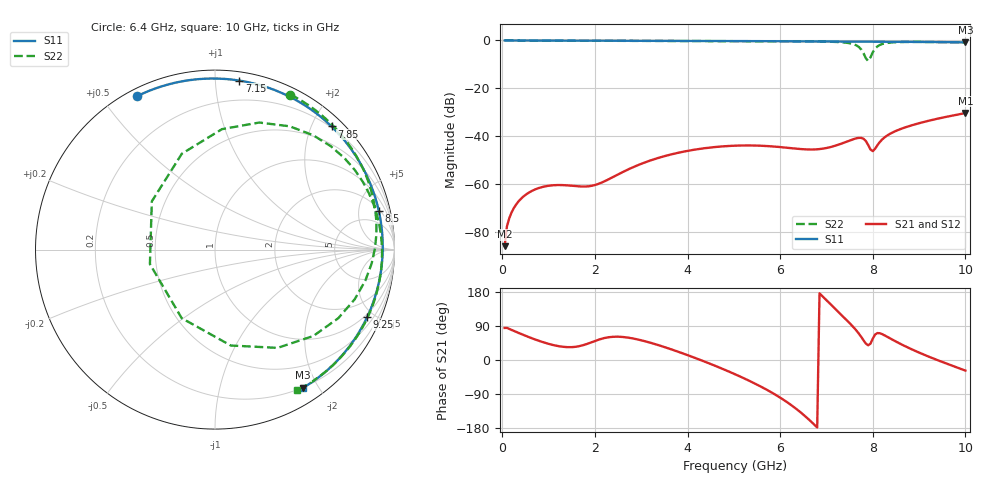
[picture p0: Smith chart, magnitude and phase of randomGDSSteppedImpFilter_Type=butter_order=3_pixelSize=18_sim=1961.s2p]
! freq	dB(S11)	phase(S11)	dB(S12)	phase(S12)
!  dB(S21)	phase(S21)	dB(S22)	phase(S22)
!S-par simulation data
#  GHz  S  DB  R 50
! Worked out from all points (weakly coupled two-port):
!   200 points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, 50 MHz to 10 GHz, reference 50 ohm
!   highest |S21| = -30.37 dB at 10 GHz (marker M1); lowest = -86.0 dB at 50 MHz (marker M2)
!   lowest |S11| = -0.8 dB at 10 GHz (marker M3), VSWR 22.00, Z = 9.78 - j90.5 ohm
!   |S11| at or under -10 dB: nowhere
!   |S22| runs from -8.6 to 0.0 dB; largest |S21 - S12| = 0
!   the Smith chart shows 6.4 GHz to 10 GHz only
!   S11 on the Smith chart (normalised r, x): 6.4 GHz: 0.03, +0.61; 7.15 GHz: 0.06, +1.15; 7.85 GHz: 0.18, +2.31; 8.5 GHz: 2.28, +8.05; 9.25 GHz: 0.85, -4.57; 10 GHz: 0.20, -1.81
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0.05  -0.00 -2.1  -86.03 84.6  -86.03 84.6  -0.00 -3.3
0.25  -0.01 -10.4  -70.08 76.7  -70.08 76.7  -0.02 -16.5
0.6  -0.03 -24.8  -63.33 59.2  -63.33 59.2  -0.05 -39.0
1.15  -0.06 -47.0  -60.49 38.1  -60.49 38.1  -0.09 -72.2
1.75  -0.09 -70.4  -61.10 39.2  -61.10 39.2  -0.11 -104.5
2.6  -0.12 -101.9  -55.04 60.7  -55.04 60.7  -0.14 -144.0
3.4  -0.16 -130.2  -48.95 38.1  -48.95 38.1  -0.17 -176.8
4.2  -0.20 -158.1  -45.53 3.8  -45.53 3.8  -0.20 152.5
5.05  -0.26 171.3  -43.99 -38.9  -43.99 -38.9  -0.24 119.9
6.4  -0.37 116.8  -45.35 -134.0  -45.35 -134.0  -0.35 64.1
6.7  -0.39 103.3  -45.61 -166.2  -45.61 -166.2  -0.40 49.9
7.15  -0.43 81.9  -44.25 139.3  -44.25 139.3  -0.58 24.8
7.6  -0.47 59.4  -41.18 84.4  -41.18 84.4  -1.66 -19.5
7.75  -0.48 51.7  -40.75 61.1  -40.75 61.1  -3.75 -57.5
7.85  -0.49 46.6  -42.04 43.5  -42.04 43.5  -7.44 -115.9
7.95  -0.50 41.4  -45.60 43.1  -45.60 43.1  -7.07 142.6
8.05  -0.51 36.3  -45.30 67.2  -45.30 67.2  -3.45 86.7
8.2  -0.53 28.5  -41.47 68.4  -41.47 68.4  -1.52 49.4
8.35  -0.54 20.8  -39.29 58.7  -39.29 58.7  -0.95 29.5
8.5  -0.56 13.1  -37.83 48.7  -37.83 48.7  -0.74 16.0
9.25  -0.66 -23.9  -33.39 6.8  -33.39 6.8  -0.63 -26.6
10  -0.79 -57.4  -30.37 -27.9  -30.37 -27.9  -0.84 -59.6
